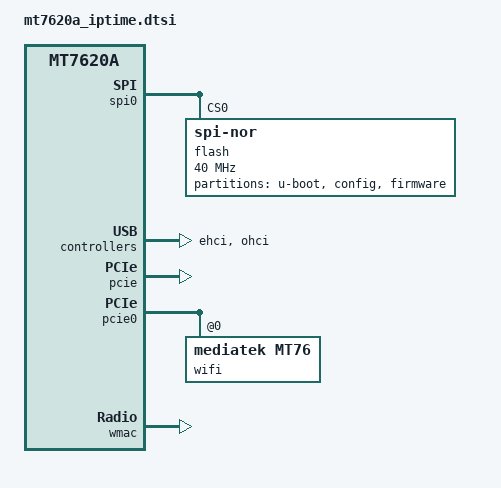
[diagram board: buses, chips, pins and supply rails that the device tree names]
// SPDX-License-Identifier: GPL-2.0-or-later OR MIT

#include "mt7620a.dtsi"

#include <dt-bindings/gpio/gpio.h>
#include <dt-bindings/input/input.h>

/ {
	aliases {
		label-mac-device = &ethernet;
	};
};

&gpio1 {
	status = "okay";
};

&spi0 {
	status = "okay";

	flash@0 {
		compatible = "jedec,spi-nor";
		reg = <0>;
		spi-max-frequency = <40000000>;

		partitions {
			compatible = "fixed-partitions";
			#address-cells = <1>;
			#size-cells = <1>;

			uboot: partition@0 {
				label = "u-boot";
				reg = <0x0 0x20000>;
				read-only;
			};

			partition@20000 {
				label = "config";
				reg = <0x20000 0x10000>;
				read-only;
			};

			firmware: partition@30000 {
				compatible = "denx,uimage";
				label = "firmware";
			};
		};
	};
};

&ethernet {
	nvmem-cells = <&macaddr_uboot_1fc20>;
	nvmem-cell-names = "mac-address";
};

&ehci {
	status = "okay";
};

&ohci {
	status = "okay";
};

&pcie {
	status = "okay";
};

&pcie0 {
	wifi@0,0 {
		compatible = "mediatek,mt76";
		reg = <0x0000 0 0 0 0>;
		mediatek,mtd-eeprom = <&uboot 0x1f800>;
		ieee80211-freq-limit = <5000000 6000000>;

		led {
			led-sources = <0>;
			led-active-low;
		};
	};
};

&wmac {
	pinctrl-names = "default";
	pinctrl-0 = <&wled_pins>;

	ralink,mtd-eeprom = <&uboot 0x1f400>;
};

&uboot {
	compatible = "nvmem-cells";
	#address-cells = <1>;
	#size-cells = <1>;

	macaddr_uboot_1fc20: macaddr@1fc20 {
		reg = <0x1fc20 0x6>;
	};
};
